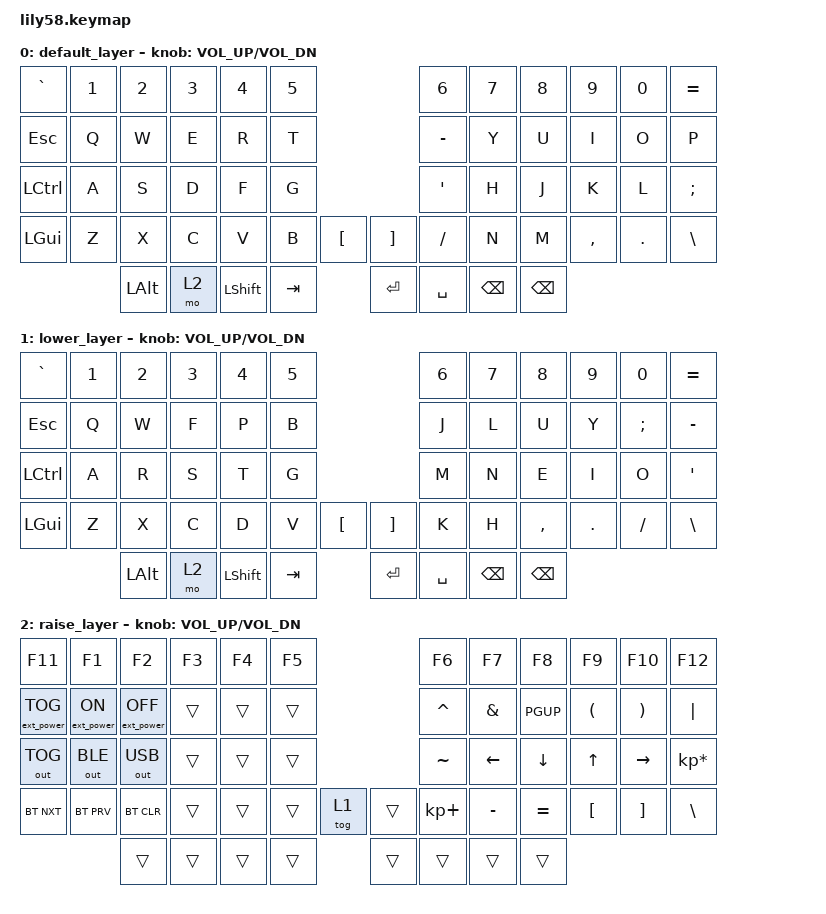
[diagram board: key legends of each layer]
/*
 * Copyright (c) 2020 The ZMK Contributors
 *
 * SPDX-License-Identifier: MIT
 */

#include <behaviors.dtsi>
#include <dt-bindings/zmk/keys.h>
#include <dt-bindings/zmk/bt.h>
#include <dt-bindings/zmk/ext_power.h>
#include <dt-bindings/zmk/outputs.h>

/ {
	keymap {
		compatible = "zmk,keymap";

		default_layer {
/* QWERTY
 * ,-----------------------------------------.                    ,-----------------------------------------.
 * |   `  |   1  |   2  |   3  |   4  |   5  |                    |   6  |   7  |   8  |   9  |   0  |  =   |
 * |------+------+------+------+------+------|                    |------+------+------+------+------+------|
 * | ESC  |   Q  |   W  |   E  |   R  |   T  |                    |   -  |   Y  |   U  |   I  |   O  |  P   |
 * |------+------+------+------+------+------|                    |------+------+------+------+------+------|
 * | LCTRL|   A  |   S  |   D  |   F  |   G  |-------.    ,-------|   '  |   H  |   J  |   K  |   L  |  ;   |
 * |------+------+------+------+------+------|   [   |    |    ]  |------+------+------+------+------+------|
 * | LGUI |   Z  |   X  |   C  |   V  |   B  |-------|    |-------|   /  |   N  |   M  |   ,  |   .  |  \   |
 * `-----------------------------------------/       /     \      \-----------------------------------------'
 *                   | LAlt |RAISE |LShift| / Tab   /       \Enter \  |Space |BackSP|BackSP|
 *                   |      |      |      |/       /         \      \ |      |      |      |
 *                   `----------------------------'           '------''--------------------'
 */
			bindings = <
&kp GRAVE  &kp N1  &kp N2  &kp N3  &kp N4  &kp N5                        &kp N6     &kp N7  &kp N8  &kp N9     &kp N0   &kp EQUAL
&kp ESC    &kp Q   &kp W   &kp E   &kp R   &kp T                         &kp MINUS  &kp Y   &kp U   &kp I      &kp O    &kp P
&kp LCTRL  &kp A   &kp S   &kp D   &kp F   &kp G                         &kp SQT    &kp H   &kp J   &kp K      &kp L    &kp SEMI
&kp LGUI   &kp Z   &kp X   &kp C   &kp V   &kp B  &kp LBKT     &kp RBKT  &kp FSLH   &kp N   &kp M   &kp COMMA  &kp DOT  &kp BSLH
                     &kp LALT  &mo 2  &kp LSHFT  &kp TAB         &kp RET  &kp SPACE  &kp BSPC  &kp BSPC
			>;

			sensor-bindings = <&inc_dec_kp C_VOL_UP C_VOL_DN>;
		};

		lower_layer {
/* COLEMAK-DH
 * ,-----------------------------------------.                    ,-----------------------------------------.
 * |   `  |   1  |   2  |   3  |   4  |   5  |                    |   6  |   7  |   8  |   9  |   0  |  =   |
 * |------+------+------+------+------+------|                    |------+------+------+------+------+------|
 * | ESC  |   Q  |   W  |   F  |   P  |   B  |                    |   J  |   L  |   U  |   Y  |   ;  |  -   |
 * |------+------+------+------+------+------|                    |------+------+------+------+------+------|
 * | LCTRL|   A  |   R  |   S  |   T  |   G  |-------.    ,-------|   M  |   N  |   E  |   I  |   O  |  '   |
 * |------+------+------+------+------+------|   [   |    |    ]  |------+------+------+------+------+------|
 * | LGUI |   Z  |   X  |   C  |   D  |   V  |-------|    |-------|   K  |   H  |   ,  |   .  |   /  |  \   |
 * `-----------------------------------------/       /     \      \-----------------------------------------'
 *                   | LAlt |RAISE |LShift| / Tab   /       \Enter \  |Space |BackSP|BackSP|
 *                   |      |      |      |/       /         \      \ |      |      |      |
 *                   `----------------------------'           '------''--------------------'
 */
			bindings = <
&kp GRAVE  &kp N1  &kp N2  &kp N3  &kp N4  &kp N5                        &kp N6  &kp N7  &kp N8     &kp N9   &kp N0    &kp EQUAL
&kp ESC    &kp Q   &kp W   &kp F   &kp P   &kp B                         &kp J   &kp L   &kp U      &kp Y    &kp SEMI  &kp MINUS
&kp LCTRL  &kp A   &kp R   &kp S   &kp T   &kp G                         &kp M   &kp N   &kp E      &kp I    &kp O     &kp SQT
&kp LGUI   &kp Z   &kp X   &kp C   &kp D   &kp V  &kp LBKT     &kp RBKT  &kp K   &kp H   &kp COMMA  &kp DOT  &kp FSLH  &kp BSLH
                     &kp LALT  &mo 2  &kp LSHFT  &kp TAB         &kp RET  &kp SPACE  &kp BSPC  &kp BSPC
			>;

			sensor-bindings = <&inc_dec_kp C_VOL_UP C_VOL_DN>;
		};

		raise_layer {
/* SPECIAL
 * ,-----------------------------------------.                    ,-----------------------------------------.
 * |  F11 |  F1  |  F2  |  F3  |  F4  |  F5  |                    |  F6  |  F7  |  F8  |  F9  | F10  | F12  |
 * |------+------+------+------+------+------|                    |------+------+------+------+------+------|
 * |EP_TOG |EP_ON|EP_OFF|      |      |      |                    |   ^  |   &  | PgUp |   {  |   }  |   |  |
 * |------+------+------+------+------+------|                    |------+------+------+------+------+------|
 * |OUTTOG|OUTBLE|OUTUSB| PgDn |      |      |-------.    ,-------|   ~  | Left | Down |  Up  | Right|   *  |
 * |------+------+------+------+------+------|TOGGLE |    |       |------+------+------+------+------+------|
 * |BT_NXT|BT_PRV|BT_CLR|      |      |      |-------|    |-------|   +  |   -  |   =  |   [  |   ]  |   \  |
 * `-----------------------------------------/       /     \      \-----------------------------------------'
 *                   |      |      |      | /       /       \      \  |      |      |      |
 *                   |      |      |      |/       /         \      \ |      |      |      |
 *                   `----------------------------'           '------''--------------------'
 */
			bindings = <
&kp F11           &kp F1            &kp F2             &kp F3  &kp F4  &kp F5                   &kp F6       &kp F7     &kp F8     &kp F9    &kp F10    &kp F12
&ext_power EP_TOG &ext_power EP_ON &ext_power EP_OFF  &trans  &trans  &trans                    &kp CARET    &kp AMPS   &kp PGUP   &kp LPAR  &kp RPAR   &kp PIPE
&out OUT_TOG      &out OUT_BLE     &out OUT_USB       &trans  &trans  &trans                    &kp TILDE    &kp LEFT   &kp DOWN   &kp UP    &kp RIGHT  &kp KP_MULTIPLY
&bt BT_NXT        &bt BT_PRV       &bt BT_CLR         &trans  &trans  &trans  &tog 1    &trans  &kp KP_PLUS  &kp MINUS  &kp EQUAL  &kp LBKT  &kp RBKT   &kp BSLH
                                   &trans       &trans      &trans      &trans                     &trans    &trans      &trans    &trans
			>;

			sensor-bindings = <&inc_dec_kp C_VOL_UP C_VOL_DN>;
		};
	};
};
